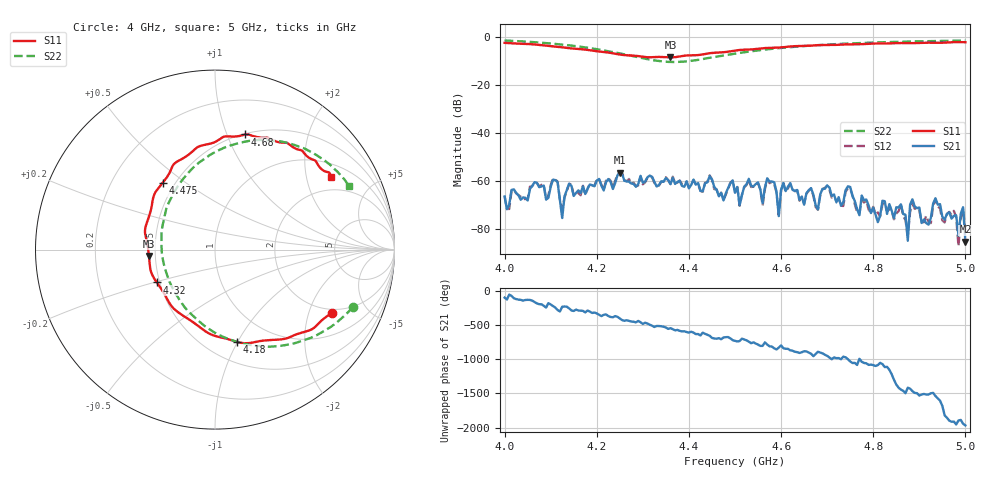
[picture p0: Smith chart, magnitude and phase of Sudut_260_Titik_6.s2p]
# Hz S RI R 50
! CMT, C1220, 16058040, 17.2.0/1
! Date: 15/08/2018 12:13:09
! Data: Format (Calibration Info)
! Freq  S11: Re/Im (F2)  S21: Re/Im (F2)  S12: Re/Im (F2)  S22: Re/Im (F2)
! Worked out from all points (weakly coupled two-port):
!   201 points, 4 GHz to 5 GHz, reference 50 ohm
!   highest |S21| = -56.70 dB at 4.25 GHz (marker M1); lowest = -85.4 dB at 5 GHz (marker M2)
!   lowest |S11| = -8.6 dB at 4.36 GHz (marker M3), VSWR 2.17, Z = 23.1 - j1.87 ohm
!   |S11| at or under -10 dB: nowhere
!   |S22| runs from -10.6 to -1.6 dB; largest |S21 - S12| = 0.00015
!   S11 on the Smith chart (normalised r, x): 4 GHz: 1.84, -2.88; 4.18 GHz: 0.70, -0.99; 4.32 GHz: 0.48, -0.20; 4.475 GHz: 0.43, +0.41; 4.68 GHz: 0.51, +1.16; 5 GHz: 1.45, +2.82
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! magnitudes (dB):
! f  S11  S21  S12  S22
! 4 GHz  -2.6  -66.6  -66.4  -1.6
! 4.11 GHz  -4.1  -59.8  -59.6  -3.0
! 4.125 GHz  -4.4  -75.6  -71.8  -3.3
! 4.14 GHz  -4.8  -61.3  -61.3  -3.6
! 4.17 GHz  -5.3  -62.3  -62.1  -4.4
! 4.18 GHz  -5.5  -63.4  -63.4  -4.6
! 4.25 GHz  -7.5  -56.7  -56.4  -7.0
! 4.32 GHz  -8.6  -58.4  -58.5  -9.7
! 4.335 GHz  -8.5  -61.8  -62.1  -10.2
! 4.36 GHz  -8.6  -61.4  -61.5  -10.6
! 4.475 GHz  -6.5  -68.3  -68.2  -7.9
! 4.5 GHz  -5.8  -65.1  -64.8  -7.1
! 4.56 GHz  -4.9  -69.3  -70.4  -5.5
! 4.57 GHz  -4.7  -59.0  -59.4  -5.3
! 4.595 GHz  -4.6  -74.8  -74.4  -4.8
! 4.605 GHz  -4.4  -61.0  -61.0  -4.6
! 4.67 GHz  -3.7  -65.8  -66.2  -3.7
! 4.68 GHz  -3.6  -72.0  -72.2  -3.5
! 4.7 GHz  -3.5  -62.0  -62.1  -3.3
! 4.81 GHz  -2.9  -77.3  -73.2  -2.4
! 4.835 GHz  -2.8  -69.8  -72.1  -2.3
! 5 GHz  -2.3  -85.4  -80.7  -1.6
